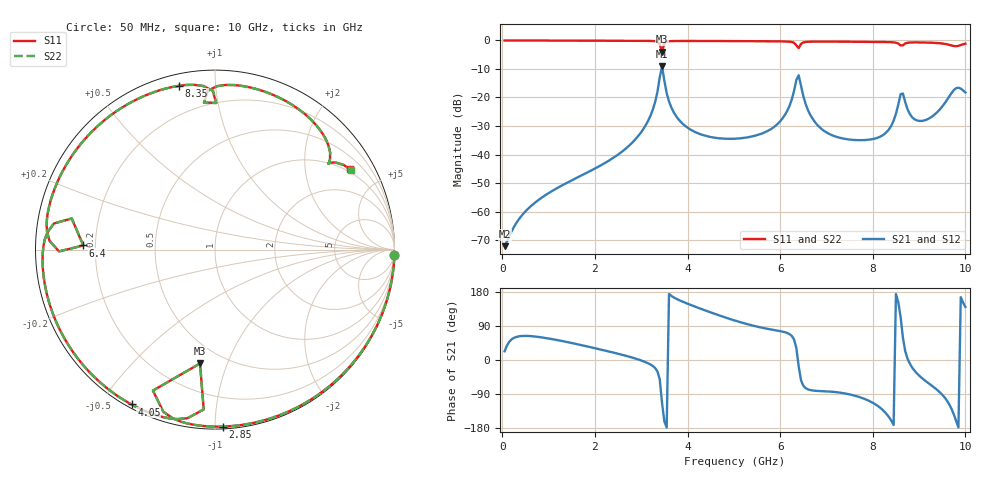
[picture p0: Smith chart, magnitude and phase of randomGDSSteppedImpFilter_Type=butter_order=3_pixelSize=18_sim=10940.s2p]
! freq	dB(S11)	phase(S11)	dB(S12)	phase(S12)
!  dB(S21)	phase(S21)	dB(S22)	phase(S22)
!S-par simulation data
#  GHz  S  DB  R 50
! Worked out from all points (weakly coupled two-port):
!   200 points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, 50 MHz to 10 GHz, reference 50 ohm
!   highest |S21| = -9.07 dB at 3.45 GHz (marker M1); lowest = -72.1 dB at 50 MHz (marker M2)
!   lowest |S11| = -3.9 dB at 3.45 GHz (marker M3), VSWR 4.55, Z = 18.7 - j40.2 ohm
!   |S11| at or under -10 dB: nowhere
!   |S22| runs from -3.9 to 0.0 dB; largest |S21 - S12| = 0
!   S11 on the Smith chart (normalised r, x): 50 MHz: 0, -72; 2.85 GHz: 0.01, -1.05; 4.05 GHz: 0.01, -0.60; 6.4 GHz: 0.15, +0.02; 8.35 GHz: 0.06, +0.80; 10 GHz: 0.88, +3.44
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0.05  -0.00 -1.6  -72.14 23.0  -72.14 23.0  -0.00 -1.6
0.6  -0.02 -19.1  -58.35 63.2  -58.35 63.2  -0.02 -19.1
1.75  -0.07 -54.5  -47.01 38.1  -47.01 38.1  -0.07 -54.5
2.85  -0.11 -87.4  -35.09 4.8  -35.09 4.8  -0.11 -87.4
3.2  -0.17 -99.1  -26.38 -11.9  -26.38 -11.9  -0.17 -99.1
3.4  -1.33 -113.8  -12.89 -51.0  -12.89 -51.0  -1.33 -113.8
3.45  -3.88 -97.5  -9.07 -114.0  -9.07 -114.0  -3.88 -97.5
3.5  -0.98 -94.0  -14.17 -162.4  -14.17 -162.4  -0.98 -94.0
3.65  -0.23 -105.0  -23.48 169.2  -23.48 169.2  -0.23 -105.0
4.05  -0.17 -118.3  -31.13 146.1  -31.13 146.1  -0.17 -118.3
5.05  -0.22 -146.7  -34.43 103.1  -34.43 103.1  -0.22 -146.8
5.95  -0.31 -173.7  -29.21 77.4  -29.21 77.4  -0.31 -173.7
6.2  -0.44 176.8  -23.06 68.5  -23.06 68.5  -0.44 176.8
6.35  -1.76 167.8  -13.81 31.7  -13.81 31.7  -1.76 167.7
6.4  -2.68 178.2  -12.20 -16.5  -12.20 -16.5  -2.69 178.2
6.7  -0.41 167.3  -27.40 -80.4  -27.40 -80.4  -0.41 167.3
7.45  -0.43 139.8  -34.65 -89.4  -34.65 -89.4  -0.44 139.7
8.35  -0.59 102.3  -31.18 -150.7  -31.18 -150.7  -0.59 102.2
8.6  -1.75 89.6  -18.85 114.6  -18.85 114.6  -1.76 89.5
9.05  -0.70 72.4  -28.22 -46.5  -28.22 -46.5  -0.70 72.3
9.8  -2.02 37.2  -16.73 -160.4  -16.73 -160.4  -2.03 37.1
10  -1.14 30.7  -18.23 139.9  -18.23 139.9  -1.14 30.5
